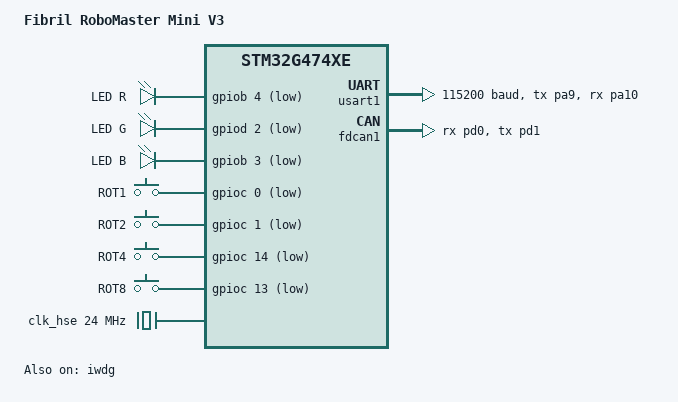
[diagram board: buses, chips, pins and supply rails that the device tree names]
/*
 * SPDX-License-Identifier: Apache-2.0
 *
 * Board configuration for the Fibril RoboMaster Mini V3. Pin assignments are
 * taken from CanMotorMbed/src/targets/robomaster_miniv3 so that hardware built
 * for that firmware works unmodified. The MCU is an STM32G474MET (LQFP80, M
 * package) — the same die family as miniv1/miniv4 but with fewer pins, so this
 * board uses the M-package pinctrl DTSI. Bus pinouts (USART1 console, USART3
 * RS485 with PB14 DE, FDCAN1 external, FDCAN2 MOTCAN0, FDCAN3 MOTCAN1, USB)
 * match miniv4; miniv3 differs in the RGB LED locations and rotary ID pins.
 */

/dts-v1/;
#include <st/g4/stm32g474Xe.dtsi>
#include <st/g4/stm32g474m(b-c-e)tx-pinctrl.dtsi>
#include <zephyr/dt-bindings/input/input-event-codes.h>

/ {
	model = "Fibril RoboMaster Mini V3";
	compatible = "fibril,robomaster-miniv3";

	chosen {
		zephyr,console = &usart1;
		zephyr,shell-uart = &usart1;
		zephyr,sram = &sram0;
		zephyr,flash = &flash0;
	};

	leds: leds {
		compatible = "gpio-leds";

		led_r: led_r {
			gpios = <&gpiob 4 GPIO_ACTIVE_LOW>;
			label = "LED R";
		};

		led_g: led_g {
			gpios = <&gpiod 2 GPIO_ACTIVE_LOW>;
			label = "LED G";
		};

		led_b: led_b {
			gpios = <&gpiob 3 GPIO_ACTIVE_LOW>;
			label = "LED B";
		};
	};

	/* Four-position BCD rotary DIP switch (ROT1|ROT2|ROT4|ROT8, active low).
	 * Read as a nibble to derive per-unit CAN IDs / hostnames, matching the
	 * mbed target's Hardware() constructor. ROT4 (PC14) and ROT8 (PC13)
	 * overlap with the LSE oscillator inputs and SYS_WKUP2 — we don't enable
	 * either, so the pins are free for GPIO. Not a gpio-keys input source.
	 */
	rotary_id: rotary_id {
		compatible = "gpio-keys";
		status = "okay";

		rot1: rot1 {
			label = "ROT1";
			gpios = <&gpioc 0 (GPIO_PULL_UP | GPIO_ACTIVE_LOW)>;
			zephyr,code = <INPUT_KEY_1>;
		};

		rot2: rot2 {
			label = "ROT2";
			gpios = <&gpioc 1 (GPIO_PULL_UP | GPIO_ACTIVE_LOW)>;
			zephyr,code = <INPUT_KEY_2>;
		};

		rot4: rot4 {
			label = "ROT4";
			gpios = <&gpioc 14 (GPIO_PULL_UP | GPIO_ACTIVE_LOW)>;
			zephyr,code = <INPUT_KEY_3>;
		};

		rot8: rot8 {
			label = "ROT8";
			gpios = <&gpioc 13 (GPIO_PULL_UP | GPIO_ACTIVE_LOW)>;
			zephyr,code = <INPUT_KEY_4>;
		};
	};

	aliases {
		led0 = &led_g;
		watchdog0 = &iwdg;
	};
};

/* HSE 24 MHz crystal -> PLL -> 160 MHz SYSCLK. HSI48 is left on so USB and other
 * 48 MHz peripherals can source from it through CLK48_SEL when needed.
 */
&clk_hse {
	clock-frequency = <DT_FREQ_M(24)>;
	status = "okay";
};

&clk_hsi48 {
	status = "okay";
};

/* PLL_Q is used as the FDCAN kernel clock (see &fdcan1/&fdcan2/&fdcan3 below).
 * We need it at or below FDCAN's 80 MHz ceiling and high enough that the
 * 5 Mbps FD data phase has integer time-quanta per bit. VCO = 24 MHz / div-m *
 * mul-n = 320 MHz, so div-q = 4 lands PLL_Q at 80 MHz — 16 tq @ 5 Mbps, 80 tq
 * @ 1 Mbps. HSE (24 MHz) would leave 4.8 tq/bit at 5 Mbps, not representable.
 */
&pll {
	div-m = <6>;
	mul-n = <80>;
	div-p = <2>;
	div-q = <4>;
	div-r = <2>;
	clocks = <&clk_hse>;
	status = "okay";
};

&rcc {
	clocks = <&pll>;
	clock-frequency = <DT_FREQ_M(160)>;
	ahb-prescaler = <1>;
	apb1-prescaler = <1>;
	apb2-prescaler = <1>;
};

/* Console on the target's default STDIO pins (PA9/PA10 = USART1). */
&usart1 {
	pinctrl-0 = <&usart1_tx_pa9 &usart1_rx_pa10>;
	pinctrl-names = "default";
	current-speed = <115200>;
	status = "okay";
};

/* RS485 bus for the AMT21x encoders. TX=PC10, RX=PC11, DE=PB14. Left disabled
 * here so overlays can add the amt21 child nodes and pick baud / DMA settings.
 */
// &usart3 {
// 	pinctrl-0 = <&usart3_tx_pc10 &usart3_rx_pc11 &usart3_de_pb14>;
// 	pinctrl-names = "default";
// };

/* All three FDCAN kernel-clocks are PLL_Q at 80 MHz — the FDCAN ceiling. That
 * kernel rate is shared across every FDCAN instance on this SoC and is high
 * enough to divide cleanly at both 1 Mbps arbitration (80 tq/bit) and 5 Mbps
 * FD data (16 tq/bit). Overlays only need to flip status to "okay" and set
 * the bitrate.
 */

/* External CAN transceiver on PD0/PD1 (STDBY control on PB11). */
&fdcan1 {
	clocks = <&rcc STM32_CLOCK(APB1, 25)>,
		 <&rcc STM32_SRC_PLL_Q FDCAN_SEL(1)>;
	pinctrl-0 = <&fdcan1_rx_pd0 &fdcan1_tx_pd1>;
	pinctrl-names = "default";
};

/* MOTCAN0 to the first RoboMaster motor bus on PB12/PB13. */
// &fdcan2 {
// 	clocks = <&rcc STM32_CLOCK(APB1, 25)>,
// 		 <&rcc STM32_SRC_PLL_Q FDCAN_SEL(1)>;
// 	pinctrl-0 = <&fdcan2_rx_pb12 &fdcan2_tx_pb13>;
// 	pinctrl-names = "default";
// };

/* MOTCAN1 to the second RoboMaster motor bus on PA8/PA15. */
// &fdcan3 {
// 	clocks = <&rcc STM32_CLOCK(APB1, 25)>,
// 		 <&rcc STM32_SRC_PLL_Q FDCAN_SEL(1)>;
// 	pinctrl-0 = <&fdcan3_rx_pa8 &fdcan3_tx_pa15>;
// 	pinctrl-names = "default";
// };

// zephyr_udc0: &usb {
// 	pinctrl-0 = <&usb_dm_pa11 &usb_dp_pa12>;
// 	pinctrl-names = "default";
// };

&iwdg {
	status = "okay";
};

&flash0 {
	partitions {
		compatible = "fixed-partitions";
		#address-cells = <1>;
		#size-cells = <1>;

		boot_partition: partition@0 {
			label = "mcuboot";
			reg = <0x00000000 DT_SIZE_K(48)>;
			read-only;
		};

		slot0_partition: partition@c000 {
			label = "image-0";
			reg = <0x0000c000 DT_SIZE_K(228)>;
		};

		slot1_partition: partition@45000 {
			label = "image-1";
			reg = <0x00045000 DT_SIZE_K(228)>;
		};

		storage_partition: partition@7e000 {
			label = "storage";
			reg = <0x0007e000 DT_SIZE_K(8)>;
		};
	};
};
